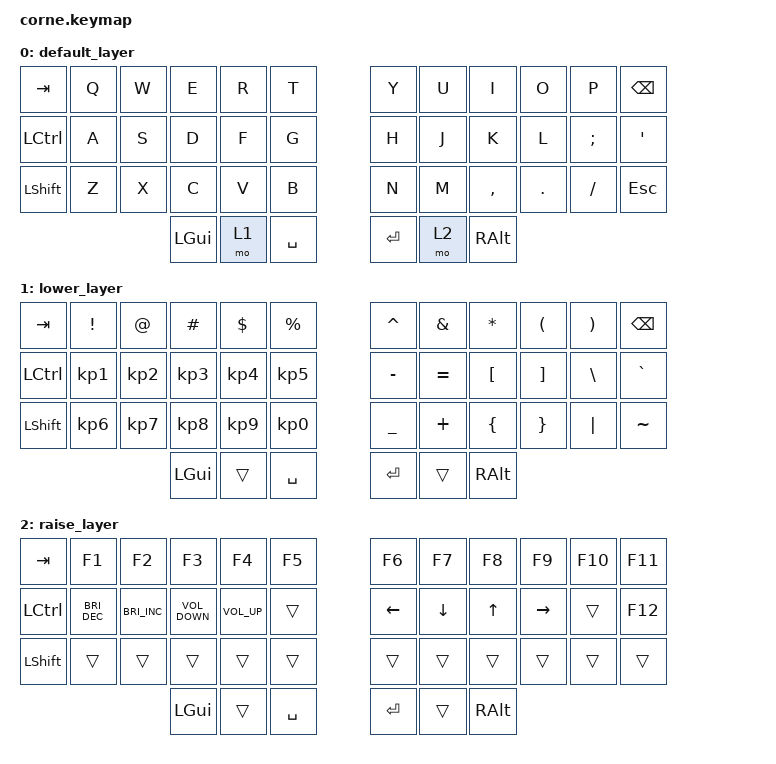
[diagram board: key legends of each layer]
/*
 * Copyright (c) 2020 The ZMK Contributors
 *
 * SPDX-License-Identifier: MIT
 */

#include <behaviors.dtsi>
#include <dt-bindings/zmk/keys.h>

/ {
    keymap {
        compatible = "zmk,keymap";

        default_layer {
            // -----------------------------------------------------------------------------------------
            // |  TAB |  Q  |  W  |  E  |  R  |  T  |   |  Y  |  U   |  I  |  O  |  P  | BSPC |
            // | CTRL |  A  |  S  |  D  |  F  |  G  |   |  H  |  J   |  K  |  L  |  ;  |  '   |
            // | SHFT |  Z  |  X  |  C  |  V  |  B  |   |  N  |  M   |  ,  |  .  |  /  | ESC  |
            //                    | GUI | LWR | SPC |   | ENT | RSE  | ALT |

            bindings = <
&kp TAB    &kp Q  &kp W  &kp E     &kp R  &kp T        &kp Y    &kp U  &kp I      &kp O    &kp P     &kp BSPC
&kp LCTRL  &kp A  &kp S  &kp D     &kp F  &kp G        &kp H    &kp J  &kp K      &kp L    &kp SEMI  &kp SQT
&kp LSHFT  &kp Z  &kp X  &kp C     &kp V  &kp B        &kp N    &kp M  &kp COMMA  &kp DOT  &kp FSLH  &kp ESC
                         &kp LGUI  &mo 1  &kp SPACE    &kp RET  &mo 2  &kp RALT
            >;
        };

        lower_layer {
            // -----------------------------------------------------------------------------------------
            // |  TAB |  !  |  @  |  #  |  $  |  %  |   |  ^  |  &  |  *  |  (  |  )  | BSPC |
            // | CTRL |     |     |     |     |     |   |  -  |  =  |  [  |  ]  |  \  |  `   |
            // | SHFT |     |     |     |     |     |   |  _  |  +  |  {  |  }  | "|" |  ~   |
            //                    | GUI |     | SPC |   | ENT |     | ALT |

            bindings = <
&kp TAB    &kp EXCL         &kp AT           &kp HASH         &kp DLLR         &kp PRCNT          &kp CARET  &kp AMPS   &kp ASTRK  &kp LPAR  &kp RPAR  &kp BSPC
&kp LCTRL  &kp KP_NUMBER_1  &kp KP_NUMBER_2  &kp KP_NUMBER_3  &kp KP_NUMBER_4  &kp KP_NUMBER_5    &kp MINUS  &kp EQUAL  &kp LBKT   &kp RBKT  &kp BSLH  &kp GRAVE
&kp LSHFT  &kp KP_NUMBER_6  &kp KP_NUMBER_7  &kp KP_NUMBER_8  &kp KP_NUMBER_9  &kp KP_NUMBER_0    &kp UNDER  &kp PLUS   &kp LBRC   &kp RBRC  &kp PIPE  &kp TILDE
                                             &kp LGUI         &trans           &kp SPACE          &kp RET    &trans     &kp RALT
            >;
        };

        raise_layer {
            // -----------------------------------------------------------------------------------------
            // |  TAB |  1  |  2  |  3  |  4  |  5  |   |  6  |  7  |  8  |  9  |  0  | BSPC |
            // | BTCLR| BT1 | BT2 | BT3 | BT4 | BT5 |   | LFT | DWN |  UP | RGT |     |      |
            // | SHFT |     |     |     |     |     |   |     |     |     |     |     |      |
            //                    | GUI |     | SPC |   | ENT |     | ALT |

            bindings = <
&kp TAB    &kp F1                &kp F2                &kp F3             &kp F4           &kp F5       &kp F6    &kp F7    &kp F8    &kp F9     &kp F10  &kp F11
&kp LCTRL  &kp C_BRIGHTNESS_DEC  &kp C_BRIGHTNESS_INC  &kp C_VOLUME_DOWN  &kp C_VOLUME_UP  &trans       &kp LEFT  &kp DOWN  &kp UP    &kp RIGHT  &trans   &kp F12
&kp LSHFT  &trans                &trans                &trans             &trans           &trans       &trans    &trans    &trans    &trans     &trans   &trans
                                                       &kp LGUI           &trans           &kp SPACE    &kp RET   &trans    &kp RALT
            >;
        };
    };
};
